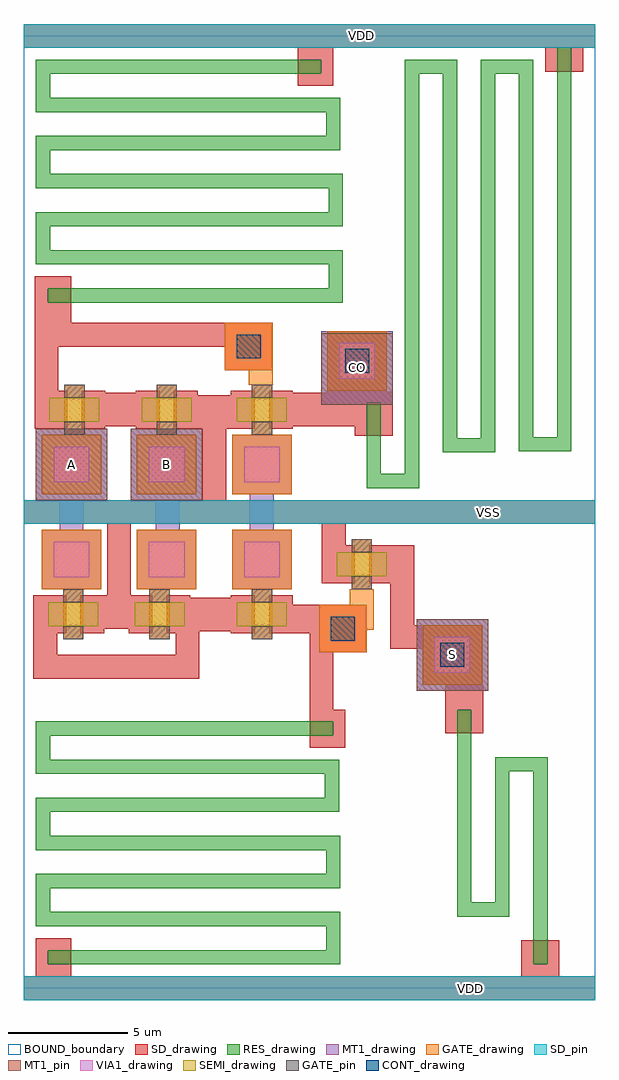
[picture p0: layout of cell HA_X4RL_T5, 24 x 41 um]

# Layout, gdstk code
from math import pi, radians
import gdstk
lib = gdstk.Library(unit=1e-6, precision=1e-09)
def R(c, l, rs):  # rectangles x0, y0, x1, y1
    for r in rs: c.add(gdstk.rectangle(r[:2], r[2:], *l))
def A(c, l, x, y, w, h, nx, ny, dx, dy):  # array of equal rectangles
    R(c, l, [(x+i*dx, y+j*dy, x+i*dx+w, y+j*dy+h) for i in range(nx) for j in range(ny)])
def P(c, l, *ps):  # polygons
    for p in ps: c.add(gdstk.Polygon(p, *l))
RES_drawing = (1, 0)
SEMI_drawing = (3, 0)
SD_drawing = (10, 0)
SD_pin = (10, 3)
GATE_drawing = (11, 0)
GATE_pin = (11, 3)
MT1_drawing = (20, 0)
MT1_pin = (20, 3)
CONT_drawing = (30, 0)
VIA1_drawing = (41, 0)
BOUND_boundary = (150, 5)

nch_cdns_772544905480 = lib.new_cell('nch_CDNS_772544905480')
R(nch_cdns_772544905480, SEMI_drawing, [(-1.05,-0.5,1.05,0.5)])
R(nch_cdns_772544905480, SD_drawing, [(-1.3,-0.8,-0.3,0.8), (0.3,-0.8,1.3,0.8)])
R(nch_cdns_772544905480, GATE_drawing, [(-0.425,-1.05,0.425,1.05)])
R(nch_cdns_772544905480, GATE_pin, [(-0.425,-1.05,0.425,-0.5), (-0.425,0.5,0.425,1.05)])

res_cdns_772544905481 = lib.new_cell('res_CDNS_772544905481')
A(res_cdns_772544905481, RES_drawing, -1.9, -3.35, 0.6, 6.7, 3, 1, 1.6, 0)
R(res_cdns_772544905481, RES_drawing, [(1.3,-5.35,1.9,-3.35), (-1.3,-3.35,-0.3,-2.75), (0.3,2.75,1.3,3.35), (-1.9,3.35,-1.3,5.35)])
R(res_cdns_772544905481, SD_drawing, [(0.8,-5.85,2.4,-4.35), (-2.4,4.35,-0.8,5.85)])

sd_gate_cdns_77254490548 = lib.new_cell('SD_GATE_CDNS_772544905480')
R(sd_gate_cdns_77254490548, SD_drawing, [(-1,-1,1,1)])
R(sd_gate_cdns_77254490548, GATE_drawing, [(-1,-1,1,1)])
R(sd_gate_cdns_77254490548, CONT_drawing, [(-0.5,-0.5,0.5,0.5)])

gate_mt1_cdns_7725449054 = lib.new_cell('GATE_MT1_CDNS_772544905481')
R(gate_mt1_cdns_7725449054, GATE_drawing, [(-1.25,-1.25,1.25,1.25)])
R(gate_mt1_cdns_7725449054, MT1_drawing, [(-1.25,-1.25,1.25,1.25)])
R(gate_mt1_cdns_7725449054, VIA1_drawing, [(-0.75,-0.75,0.75,0.75)])

ha_x4rl_t5 = lib.new_cell('HA_X4RL_T5')
R(ha_x4rl_t5, SD_drawing, [(0.5,0.5,2,2.1), (12,10.1,13.5,11.7), (17.7,11.15,19.3,12.75), (12,11.7,13,15.1), (16.75,12.75,19.25,15.25), (12.75,24.75,15.25,27.6), (0.5,28.3,2,29.9), (11.5,37.9,13,39.5), (21.9,38.5,23.5,39.5)])
A(ha_x4rl_t5, SD_pin, 0, -0.5, 24, 1, 1, 3, 0, 20)
P(ha_x4rl_t5, GATE_drawing, [(5.475,23.15),(6.475,23.15),(6.475,23.25),(6.375,23.25),(6.375,23.3),(5.625,23.3),(5.625,23.25),(5.475,23.25)],
  [(1.6,23.15),(2.6,23.15),(2.6,23.25),(2.5,23.25),(2.5,23.3),(1.75,23.3),(1.75,23.25),(1.6,23.25)],
  [(2.575,16.825),(1.575,16.825),(1.575,16.75),(1.7,16.75),(1.7,16.7),(2.45,16.7),(2.45,16.75),(2.575,16.75)],
  [(6.2,16.825),(5.2,16.825),(5.2,16.75),(5.325,16.75),(5.325,16.7),(6.075,16.7),(6.075,16.75),(6.2,16.75)],
  [(10.5,16.825),(9.5,16.825),(9.5,16.75),(9.625,16.75),(9.625,16.7),(10.375,16.7),(10.375,16.75),(10.5,16.75)],
  [(10.45,25.45),(9.45,25.45),(9.45,25.35),(9.625,25.35),(9.625,25.3),(10.375,25.3),(10.375,25.35),(10.45,25.35)],
  [(9.475,23.15),(10.475,23.15),(10.475,23.25),(10.375,23.25),(10.375,23.3),(9.625,23.3),(9.625,23.25),(9.475,23.25)],
  [(13.7,16.625),(14.7,16.625),(14.7,16.75),(14.575,16.75),(14.575,16.8),(13.825,16.8),(13.825,16.75),(13.7,16.75)])
R(ha_x4rl_t5, MT1_drawing, [(16.5,12.5,19.5,15.5), (0.5,20.5,3.5,23.5), (4.5,20.5,7.5,23.5), (12.5,24.5,15.5,27.6)])
R(ha_x4rl_t5, MT1_pin, [(16.5,12.5,19.5,15.5), (0.5,20.5,3.5,23.5), (4.5,20.5,7.5,23.5), (12.5,24.5,15.5,27.5)])
R(ha_x4rl_t5, BOUND_boundary, [(0,0,24,40)])
ha_x4rl_t5.add(gdstk.FlexPath([(14.95,17.8),(15.8,17.8)], 1.4, ends="flush", simple_path=True, layer=10, datatype=0))  # SD_drawing
ha_x4rl_t5.add(gdstk.FlexPath([(15.9,18.6),(15.9,14.75)], 1, ends=(0, 0.5), simple_path=True, layer=10, datatype=0))  # SD_drawing
ha_x4rl_t5.add(gdstk.FlexPath([(8.7,15.7),(7,15.7)], 1.4, ends="flush", simple_path=True, layer=10, datatype=0))  # SD_drawing
ha_x4rl_t5.add(gdstk.FlexPath([(10.45,27.45),(1.5,27.45)], 1, ends=(0, 0.5), simple_path=True, layer=10, datatype=0))  # SD_drawing
ha_x4rl_t5.add(gdstk.FlexPath([(0,20),(13.025,20)], 1, ends=(0, 0.5), simple_path=True, layer=10, datatype=0))  # SD_drawing
ha_x4rl_t5.add(gdstk.FlexPath([(1.5,27.45),(1.5,28.3)], 1, ends=(0.5, 0), simple_path=True, layer=10, datatype=0))  # SD_drawing
ha_x4rl_t5.add(gdstk.FlexPath([(8,24.9),(8,20.5)], 1, ends="flush", simple_path=True, layer=10, datatype=0))  # SD_drawing
ha_x4rl_t5.add(gdstk.FlexPath([(4,15.1),(4,15.8)], 1, ends=(0, 0.7), simple_path=True, layer=10, datatype=0))  # SD_drawing
ha_x4rl_t5.add(gdstk.FlexPath([(13.85,15.4),(11.7,15.4)], 1, ends=(0, 0.75), simple_path=True, layer=10, datatype=0))  # SD_drawing
ha_x4rl_t5.add(gdstk.FlexPath([(3.375,15.8),(4,15.8)], 1.4, ends=(0, 0.5), simple_path=True, layer=10, datatype=0))  # SD_drawing
ha_x4rl_t5.add(gdstk.FlexPath([(15.9,14.75),(17.95,14.75)], 1, ends=(0.5, 0), simple_path=True, layer=10, datatype=0))  # SD_drawing
ha_x4rl_t5.add(gdstk.FlexPath([(0,0),(24,0)], 1, ends="flush", simple_path=True, layer=10, datatype=0))  # SD_drawing
ha_x4rl_t5.add(gdstk.FlexPath([(14.7,24),(14.7,24.3)], 1.6, ends=(0.8, 0.7), simple_path=True, layer=10, datatype=0))  # SD_drawing
ha_x4rl_t5.add(gdstk.FlexPath([(4,15.8),(4,19.6)], 1, ends=(0.7, 0.5), simple_path=True, layer=10, datatype=0))  # SD_drawing
ha_x4rl_t5.add(gdstk.FlexPath([(13.85,15.6),(11.7,15.6)], 1, ends=(0, 0.75), simple_path=True, layer=10, datatype=0))  # SD_drawing
ha_x4rl_t5.add(gdstk.FlexPath([(14.7,24.3),(14.8,24.3)], 1.4, ends=(0.8, 0.7), simple_path=True, layer=10, datatype=0))  # SD_drawing
ha_x4rl_t5.add(gdstk.FlexPath([(1,29.4),(1.5,29.4)], 1, ends=(0.5, 0), simple_path=True, layer=10, datatype=0))  # SD_drawing
ha_x4rl_t5.add(gdstk.FlexPath([(7.25,24.2),(9.7,24.2)], 1.4, ends="flush", simple_path=True, layer=10, datatype=0))  # SD_drawing
ha_x4rl_t5.add(gdstk.FlexPath([(0.95,24),(0.95,29.4)], 1, ends="extended", simple_path=True, layer=10, datatype=0))  # SD_drawing
ha_x4rl_t5.add(gdstk.FlexPath([(1.45,24),(1,24)], 1, ends=(0, 0.5), simple_path=True, layer=10, datatype=0))  # SD_drawing
ha_x4rl_t5.add(gdstk.FlexPath([(4.7,24.3),(3.425,24.3)], 1.4, ends="flush", simple_path=True, layer=10, datatype=0))  # SD_drawing
ha_x4rl_t5.add(gdstk.FlexPath([(4,15.8),(4.45,15.8)], 1.4, ends=(0.5, 0), simple_path=True, layer=10, datatype=0))  # SD_drawing
ha_x4rl_t5.add(gdstk.FlexPath([(14.7,24.3),(14.7,25.05)], 1.6, ends=(0.7, 0), simple_path=True, layer=10, datatype=0))  # SD_drawing
ha_x4rl_t5.add(gdstk.FlexPath([(11.3,24.3),(14.7,24.3)], 1.4, ends=(0, 0.8), simple_path=True, layer=10, datatype=0))  # SD_drawing
ha_x4rl_t5.add(gdstk.FlexPath([(13.025,17),(13.025,20)], 1, ends=(0, 0.5), simple_path=True, layer=10, datatype=0))  # SD_drawing
ha_x4rl_t5.add(gdstk.FlexPath([(13.025,20),(13.025,20.15)], 1, ends=(0.5, 0), simple_path=True, layer=10, datatype=0))  # SD_drawing
ha_x4rl_t5.add(gdstk.FlexPath([(6.875,15),(6.875,14)], 1, ends=(0, 0.5), simple_path=True, layer=10, datatype=0))  # SD_drawing
ha_x4rl_t5.add(gdstk.FlexPath([(0.9,13.5),(7.375,13.5)], 1, ends=(0.5, 0), simple_path=True, layer=10, datatype=0))  # SD_drawing
ha_x4rl_t5.add(gdstk.FlexPath([(0.9,16.5),(0.9,13.5)], 1, ends=(0, 0.5), simple_path=True, layer=10, datatype=0))  # SD_drawing
ha_x4rl_t5.add(gdstk.FlexPath([(0,40),(24,40)], 1, ends="flush", simple_path=True, layer=10, datatype=0))  # SD_drawing
ha_x4rl_t5.add(gdstk.FlexPath([(13.025,20),(24,20)], 1, ends=(0.5, 0), simple_path=True, layer=10, datatype=0))  # SD_drawing
ha_x4rl_t5.add(gdstk.FlexPath([(9.95,25.45),(9.95,27.05)], 1, ends="flush", simple_path=True, layer=11, datatype=0))  # GATE_drawing
ha_x4rl_t5.add(gdstk.FlexPath([(14.2,15.55),(12.825,15.55)], 1, ends=(0.5, 0), simple_path=True, layer=11, datatype=0))  # GATE_drawing
ha_x4rl_t5.add(gdstk.FlexPath([(14.2,16.625),(14.2,15.55)], 1, ends=(0, 0.5), simple_path=True, layer=11, datatype=0))  # GATE_drawing
ha_x4rl_t5.add(gdstk.FlexPath([(1,1.3),(13,1.3),(13,2.9),(0.8,2.9),(0.8,4.5),(13,4.5),(13,6.1),(0.8,6.1),(0.8,7.7),(12.95,7.7),(12.95,9.3),(0.8,9.3),(0.8,10.9),(13,10.9)], 0.6, ends="flush", simple_path=True, layer=1, datatype=0))  # RES_drawing
ha_x4rl_t5.add(gdstk.FlexPath([(1,29.1),(13.1,29.1),(13.1,30.7),(0.8,30.7),(0.8,32.3),(13.1,32.3),(13.1,33.9),(0.8,33.9),(0.8,35.5),(13,35.5),(13,37.1),(0.8,37.1),(0.8,38.7),(12.5,38.7)], 0.6, ends="flush", simple_path=True, layer=1, datatype=0))  # RES_drawing
ha_x4rl_t5.add(gdstk.FlexPath([(22.7,39.5),(22.7,22.85),(21.1,22.85),(21.1,38.7),(19.5,38.7),(19.5,22.8),(17.9,22.8),(17.9,38.7),(16.3,38.7),(16.3,21.3),(14.7,21.3),(14.7,24.6)], 0.6, ends="flush", simple_path=True, layer=1, datatype=0))  # RES_drawing
ha_x4rl_t5.add(gdstk.FlexPath([(10,17.75),(10,22.1)], 1, ends="flush", simple_path=True, layer=20, datatype=0))  # MT1_drawing
ha_x4rl_t5.add(gdstk.FlexPath([(6.05,18),(6.05,23.5)], 1, ends="flush", simple_path=True, layer=20, datatype=0))  # MT1_drawing
ha_x4rl_t5.add(gdstk.FlexPath([(2,18),(2,22)], 1, ends="flush", simple_path=True, layer=20, datatype=0))  # MT1_drawing
ha_x4rl_t5.add(gdstk.FlexPath([(2,22),(2,23.5)], 1, ends="flush", simple_path=True, layer=20, datatype=0))  # MT1_drawing
ha_x4rl_t5.add(gdstk.Reference(nch_cdns_772544905480, (2.075,15.7), rotation=pi))
ha_x4rl_t5.add(gdstk.Reference(nch_cdns_772544905480, (5.7,15.7), x_reflection=True))
ha_x4rl_t5.add(gdstk.Reference(nch_cdns_772544905480, (6,24.3), rotation=pi, x_reflection=True))
ha_x4rl_t5.add(gdstk.Reference(nch_cdns_772544905480, (2.125,24.3), rotation=pi, x_reflection=True))
ha_x4rl_t5.add(gdstk.Reference(nch_cdns_772544905480, (14.2,17.8), rotation=pi))
ha_x4rl_t5.add(gdstk.Reference(nch_cdns_772544905480, (10,24.3)))
ha_x4rl_t5.add(gdstk.Reference(nch_cdns_772544905480, (10,15.7), x_reflection=True))
ha_x4rl_t5.add(gdstk.Reference(res_cdns_772544905481, (20.1,6.35)))
ha_x4rl_t5.add(gdstk.Reference(sd_gate_cdns_77254490548, (18,14)))
ha_x4rl_t5.add(gdstk.Reference(sd_gate_cdns_77254490548, (14,26.35)))
ha_x4rl_t5.add(gdstk.Reference(sd_gate_cdns_77254490548, (9.45,26.95)))
ha_x4rl_t5.add(gdstk.Reference(sd_gate_cdns_77254490548, (13.4,15.1), x_reflection=True))
ha_x4rl_t5.add(gdstk.Reference(gate_mt1_cdns_7725449054, (18,14)))
ha_x4rl_t5.add(gdstk.Reference(gate_mt1_cdns_7725449054, (14,26.35)))
ha_x4rl_t5.add(gdstk.Reference(gate_mt1_cdns_7725449054, (10,22)))
ha_x4rl_t5.add(gdstk.Reference(gate_mt1_cdns_7725449054, (10,18)))
ha_x4rl_t5.add(gdstk.Reference(gate_mt1_cdns_7725449054, (6,18)))
ha_x4rl_t5.add(gdstk.Reference(gate_mt1_cdns_7725449054, (2,18)))
ha_x4rl_t5.add(gdstk.Reference(gate_mt1_cdns_7725449054, (2,22)))
ha_x4rl_t5.add(gdstk.Reference(gate_mt1_cdns_7725449054, (6,22)))
ha_x4rl_t5.add(gdstk.Label('S', (18,14), layer=20, texttype=3))
ha_x4rl_t5.add(gdstk.Label('CO', (14,26.05), layer=20, texttype=3))
ha_x4rl_t5.add(gdstk.Label('B', (6,22), layer=20, texttype=3))
ha_x4rl_t5.add(gdstk.Label('A', (2,22), layer=20, texttype=3))
ha_x4rl_t5.add(gdstk.Label('VDD', (18.75,0), layer=10, texttype=3))
ha_x4rl_t5.add(gdstk.Label('VSS', (19.5,20), layer=10, texttype=3))
ha_x4rl_t5.add(gdstk.Label('VDD', (14.2,40), layer=10, texttype=3))

lib.write_gds('HA_X4RL_T5.gds')
